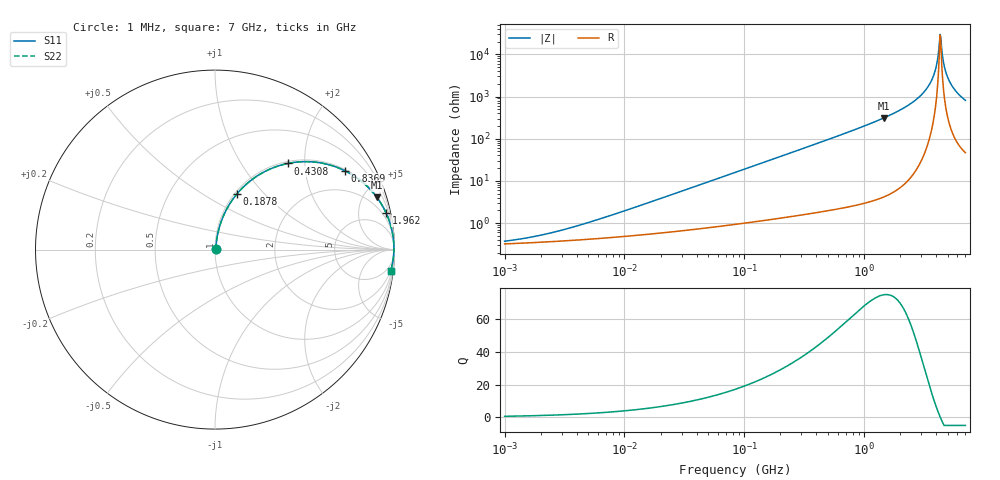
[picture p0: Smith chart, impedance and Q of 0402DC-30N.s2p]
# MHz  S  MA  R  50
!Freq  MagS11  AngS11  MagS21  AngS21  MagS12  AngS12  MagS22  AngS22
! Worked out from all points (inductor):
!   801 points, 1 MHz to 7 GHz, reference 50 ohm
!   read as one part in series: L = 30 nH near 7.093 MHz
!   highest Q = 74.8 at 1.455 GHz (marker M1), where L = 33.8 nH
!   self-resonance near 4.306 GHz
!   S11 on the Smith chart (normalised r, x): 1 MHz: 1.01, +0.00; 187.8 MHz: 1.03, +0.71; 430.8 MHz: 1.04, +1.64; 836.9 MHz: 1.05, +3.28; 1.962 GHz: 1.13, +9.32; 7 GHz: 2, -16
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1  0.003698 30.4  0.9968 -0.1  0.9968 -0.1  0.003698 30.4
4.406943  0.009189 63.7  0.996 -0.5  0.996 -0.5  0.009189 63.7
19.20737  0.03642 79.0  0.9937 -2.1  0.9937 -2.1  0.03642 79.0
83.71406  0.1548 77.7  0.9789 -8.9  0.9789 -8.9  0.1548 77.7
187.8058  0.3308 68.6  0.932 -19.3  0.932 -19.3  0.3308 68.6
368.9231  0.5674 54.1  0.8098 -34.6  0.8098 -34.6  0.5674 54.1
430.7585  0.6274 49.9  0.7649 -38.8  0.7649 -38.8  0.6274 49.9
836.8615  0.8477 31.1  0.5172 -58.0  0.5172 -58.0  0.8477 31.1
1455.47  0.9479 17.8  0.3063 -71.4  0.3063 -71.4  0.9479 17.8
1607.927  0.9585 15.8  0.2724 -73.4  0.2724 -73.4  0.9585 15.8
1962.421  0.9749 12.1  0.2092 -77.1  0.2092 -77.1  0.9749 12.1
2735.282  0.9909 6.6  0.1152 -82.1  0.1152 -82.1  0.9909 6.6
3413.045  0.9957 3.3  0.05827 -84.1  0.05827 -84.1  0.9957 3.3
3854.952  0.9967 1.6  0.02815 -82.5  0.02815 -82.5  0.9967 1.6
4029.461  0.9968 1.0  0.01739 -79.0  0.01739 -79.0  0.9968 1.0
4165.508  0.9968 0.5  0.009523 -70.3  0.009523 -70.3  0.9968 0.5
4306.148  0.9967 0.0  0.003366 -14.9  0.003366 -14.9  0.9967 0.0
4451.537  0.9966 -0.4  0.008006 64.5  0.008006 64.5  0.9966 -0.4
4757.206  0.996 -1.3  0.0238 79.7  0.0238 79.7  0.996 -1.3
5140.447  0.9949 -2.4  0.04278 82.0  0.04278 82.0  0.9949 -2.4
5870.632  0.992 -4.3  0.0759 81.8  0.0759 81.8  0.992 -4.3
7000  0.9857 -7.0  0.1214 79.8  0.1214 79.8  0.9857 -7.0
